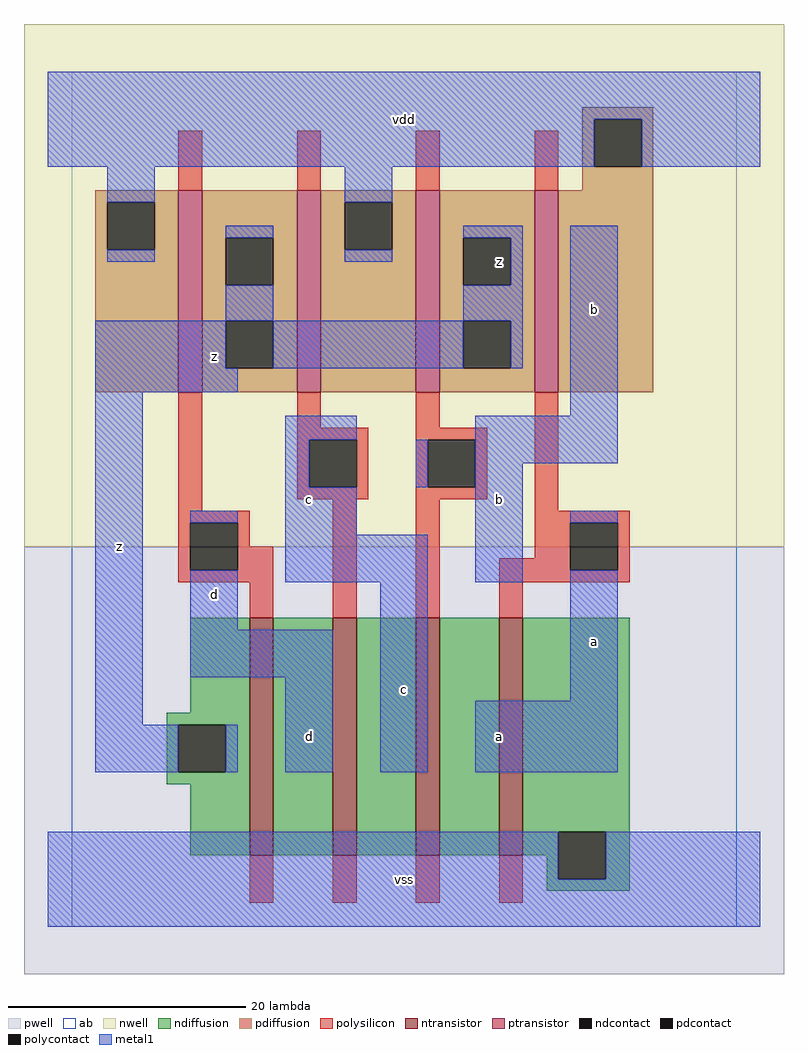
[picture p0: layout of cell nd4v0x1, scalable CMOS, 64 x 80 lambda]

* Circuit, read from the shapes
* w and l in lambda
.subckt nd4v0x1 a b c d vdd vss z
M1 n1 d z VSUBS nfet w=20 l=2
M2 n2 c n1 VSUBS nfet w=20 l=2
M3 n3 b n2 VSUBS nfet w=20 l=2
M4 vss a n3 VSUBS nfet w=20 l=2
M5 z d vdd n4 pfet w=17 l=2
M6 vdd c z n4 pfet w=17 l=2
M7 z b vdd n4 pfet w=17 l=2
M8 vdd a z n4 pfet w=17 l=2
.ends

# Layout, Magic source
magic
tech scmos
<< ab >>
rect 0 0 56 72
<< pwell >>
rect -4 -4 60 32
<< nwell >>
rect -4 32 60 76
<< polysilicon >>
rect 9 62 11 67
rect 19 62 21 67
rect 29 62 31 67
rect 39 62 41 67
rect 9 35 11 45
rect 19 42 21 45
rect 29 42 31 45
rect 19 41 25 42
rect 19 37 20 41
rect 24 37 25 41
rect 19 36 25 37
rect 29 41 35 42
rect 29 37 30 41
rect 34 37 35 41
rect 29 36 35 37
rect 9 34 15 35
rect 9 30 10 34
rect 14 32 15 34
rect 14 30 17 32
rect 9 29 17 30
rect 15 26 17 29
rect 22 26 24 36
rect 29 26 31 36
rect 39 35 41 45
rect 39 34 47 35
rect 39 31 42 34
rect 36 30 42 31
rect 46 30 47 34
rect 36 29 47 30
rect 36 26 38 29
rect 15 2 17 6
rect 22 2 24 6
rect 29 2 31 6
rect 36 2 38 6
<< ndiffusion >>
rect 10 18 15 26
rect 8 17 15 18
rect 8 13 9 17
rect 13 13 15 17
rect 8 12 15 13
rect 10 6 15 12
rect 17 6 22 26
rect 24 6 29 26
rect 31 6 36 26
rect 38 8 47 26
rect 38 6 41 8
rect 40 4 41 6
rect 45 4 47 8
rect 40 3 47 4
<< pdiffusion >>
rect 43 68 49 69
rect 43 64 44 68
rect 48 64 49 68
rect 43 62 49 64
rect 2 61 9 62
rect 2 57 3 61
rect 7 57 9 61
rect 2 45 9 57
rect 11 58 19 62
rect 11 54 13 58
rect 17 54 19 58
rect 11 51 19 54
rect 11 47 13 51
rect 17 47 19 51
rect 11 45 19 47
rect 21 61 29 62
rect 21 57 23 61
rect 27 57 29 61
rect 21 45 29 57
rect 31 58 39 62
rect 31 54 33 58
rect 37 54 39 58
rect 31 51 39 54
rect 31 47 33 51
rect 37 47 39 51
rect 31 45 39 47
rect 41 45 49 62
<< metal1 >>
rect -2 68 58 72
rect -2 64 44 68
rect 48 64 58 68
rect 3 61 7 64
rect 23 61 27 64
rect 3 56 7 57
rect 13 58 17 59
rect 23 56 27 57
rect 33 58 38 59
rect 13 51 17 54
rect 37 54 38 58
rect 33 51 38 54
rect 2 47 13 51
rect 17 47 33 51
rect 37 47 38 51
rect 2 45 14 47
rect 2 17 6 45
rect 42 43 46 59
rect 18 41 24 43
rect 18 37 20 41
rect 29 37 30 41
rect 34 39 46 43
rect 10 34 14 35
rect 10 25 14 30
rect 18 33 24 37
rect 18 29 30 33
rect 34 29 38 39
rect 42 34 46 35
rect 10 21 22 25
rect 2 13 9 17
rect 13 13 14 17
rect 18 13 22 21
rect 26 13 30 29
rect 42 19 46 30
rect 34 13 46 19
rect -2 4 41 8
rect 45 4 58 8
rect -2 0 58 4
<< ntransistor >>
rect 15 6 17 26
rect 22 6 24 26
rect 29 6 31 26
rect 36 6 38 26
<< ptransistor >>
rect 9 45 11 62
rect 19 45 21 62
rect 29 45 31 62
rect 39 45 41 62
<< polycontact >>
rect 20 37 24 41
rect 30 37 34 41
rect 10 30 14 34
rect 42 30 46 34
<< ndcontact >>
rect 9 13 13 17
rect 41 4 45 8
<< pdcontact >>
rect 44 64 48 68
rect 3 57 7 61
rect 13 54 17 58
rect 13 47 17 51
rect 23 57 27 61
rect 33 54 37 58
rect 33 47 37 51
<< labels >>
rlabel metal1 4 32 4 32 6 z
rlabel metal1 20 16 20 16 6 d
rlabel metal1 12 28 12 28 6 d
rlabel metal1 20 36 20 36 6 c
rlabel metal1 12 48 12 48 6 z
rlabel metal1 28 4 28 4 6 vss
rlabel metal1 36 16 36 16 6 a
rlabel metal1 28 20 28 20 6 c
rlabel metal1 36 36 36 36 6 b
rlabel pdcontact 36 56 36 56 6 z
rlabel metal1 28 68 28 68 6 vdd
rlabel metal1 44 24 44 24 6 a
rlabel metal1 44 52 44 52 6 b
<< end >>
